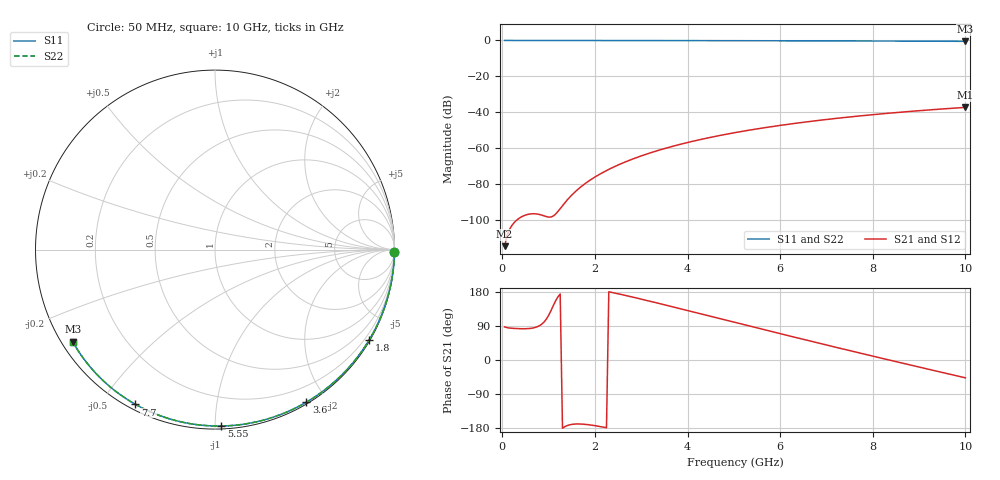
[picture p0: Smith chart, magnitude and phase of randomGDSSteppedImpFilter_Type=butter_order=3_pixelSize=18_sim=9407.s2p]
! freq	dB(S11)	phase(S11)	dB(S12)	phase(S12)
!  dB(S21)	phase(S21)	dB(S22)	phase(S22)
!S-par simulation data
#  GHz  S  DB  R 50
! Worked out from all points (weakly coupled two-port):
!   200 points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, 50 MHz to 10 GHz, reference 50 ohm
!   highest |S21| = -37.27 dB at 10 GHz (marker M1); lowest = -114.6 dB at 50 MHz (marker M2)
!   lowest |S11| = -0.5 dB at 10 GHz (marker M3), VSWR 35.03, Z = 1.55 - j14.8 ohm
!   |S11| at or under -10 dB: nowhere
!   |S22| runs from -0.5 to 0.0 dB; largest |S21 - S12| = 0
!   S11 on the Smith chart (normalised r, x): 50 MHz: open; 1.8 GHz: 0.03, -3.69; 3.6 GHz: 0.02, -1.77; 5.55 GHz: 0.02, -1.04; 7.7 GHz: 0.02, -0.61; 10 GHz: 0.03, -0.30
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0.05  -0.00 -0.9  -114.57 87.4  -114.57 87.4  -0.00 -0.9
0.45  -0.01 -7.7  -97.77 82.4  -97.77 82.4  -0.01 -7.7
0.9  -0.02 -15.3  -97.68 100.0  -97.68 100.0  -0.02 -15.3
1.3  -0.03 -22.0  -92.00 -180.0  -92.00 -180.0  -0.03 -22.0
1.75  -0.04 -29.5  -80.46 -169.4  -80.46 -169.4  -0.04 -29.5
1.8  -0.04 -30.3  -79.50 -169.9  -79.50 -169.9  -0.04 -30.3
1.95  -0.04 -32.8  -76.87 -172.3  -76.87 -172.3  -0.04 -32.8
2.1  -0.04 -35.2  -74.55 -175.3  -74.55 -175.3  -0.04 -35.2
2.3  -0.05 -38.5  -71.80 180.0  -71.80 180.0  -0.05 -38.5
2.5  -0.05 -41.7  -69.37 174.8  -69.37 174.8  -0.05 -41.7
2.9  -0.06 -48.1  -65.22 163.6  -65.22 163.6  -0.06 -48.1
3.4  -0.07 -55.9  -60.98 148.8  -60.98 148.8  -0.07 -56.0
3.6  -0.08 -59.0  -59.50 142.8  -59.50 142.8  -0.08 -59.1
4.3  -0.10 -69.7  -55.05 121.4  -55.05 121.4  -0.10 -69.7
5.05  -0.12 -80.7  -51.21 98.4  -51.21 98.4  -0.12 -80.8
5.55  -0.14 -87.9  -49.05 83.2  -49.05 83.2  -0.14 -87.9
6.1  -0.17 -95.6  -46.94 66.5  -46.94 66.5  -0.17 -95.6
6.7  -0.20 -103.8  -44.93 48.5  -44.93 48.5  -0.20 -103.9
7.7  -0.27 -117.2  -42.08 19.0  -42.08 19.0  -0.27 -117.2
8.35  -0.32 -125.7  -40.51 0.1  -40.51 0.1  -0.32 -125.7
9.2  -0.40 -136.7  -38.72 -24.3  -38.72 -24.3  -0.40 -136.8
10  -0.50 -147.1  -37.27 -47.0  -37.27 -47.0  -0.50 -147.1
